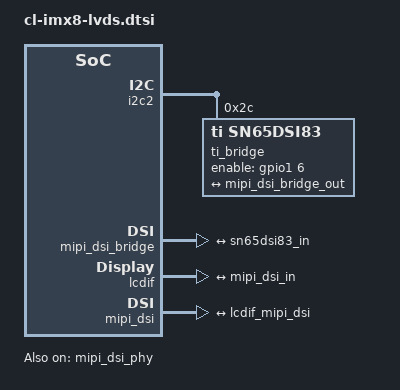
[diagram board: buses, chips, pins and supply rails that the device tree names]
&iomuxc {
	rvphone-cl-imx8-lvds {
		pinctrl_dsi_lvds: dsilvdsgrp {
			fsl,pins = <
				MX8MQ_IOMUXC_GPIO1_IO06_GPIO1_IO6		0x16
			>;
		};
	};
};

&i2c2 {
	ti_bridge: sn65dsi83@2c {
		compatible = "ti,sn65dsi83";
		reg = <0x2c>;
		ti,dsi-lanes = <1>;
		ti,lvds-format = <1>;
		ti,lvds-bpp = <24>;
		ti,width-mm = <149>;
		ti,height-mm = <93>;
		enable-gpios = <&gpio1 6 GPIO_ACTIVE_HIGH>;
		pinctrl-names = "default";
		pinctrl-0 = <&pinctrl_dsi_lvds>;
		status = "okay";

		display-timings {
			lvds {
				clock-frequency = <30000000>;
				hactive = <800>;
				vactive = <480>;
				hback-porch = <46>;
				hfront-porch = <210>;
				vback-porch = <23>;
				vfront-porch = <22>;
				hsync-len = <20>;
				vsync-len = <10>;
				hsync-active = <0>;
				vsync-active = <0>;
				de-active = <0>;
				pixelclk-active = <0>;
			};
		};

		port {
			sn65dsi83_in: endpoint {
				remote-endpoint = <&mipi_dsi_bridge_out>;
			};
		};
    };
};

&mipi_dsi_bridge {
	status = "okay";

	port@1 {
		mipi_dsi_bridge_out: endpoint {
			remote-endpoint = <&sn65dsi83_in>;
		};
	};
};

&lcdif {
	status = "okay";
	max-res = <1920>, <1200>;

	port@0 {
		lcdif_mipi_dsi: mipi-dsi-endpoint {
			remote-endpoint = <&mipi_dsi_in>;
		};
	};
};

&mipi_dsi_phy {
	status = "okay";
};

&mipi_dsi {
	status = "okay";
	as_bridge;
	sync-pol = <1>;
	pwr-delay = <10>;

	port@1 {
		mipi_dsi_in: endpoint {
			remote-endpoint = <&lcdif_mipi_dsi>;
		};
	};
};
